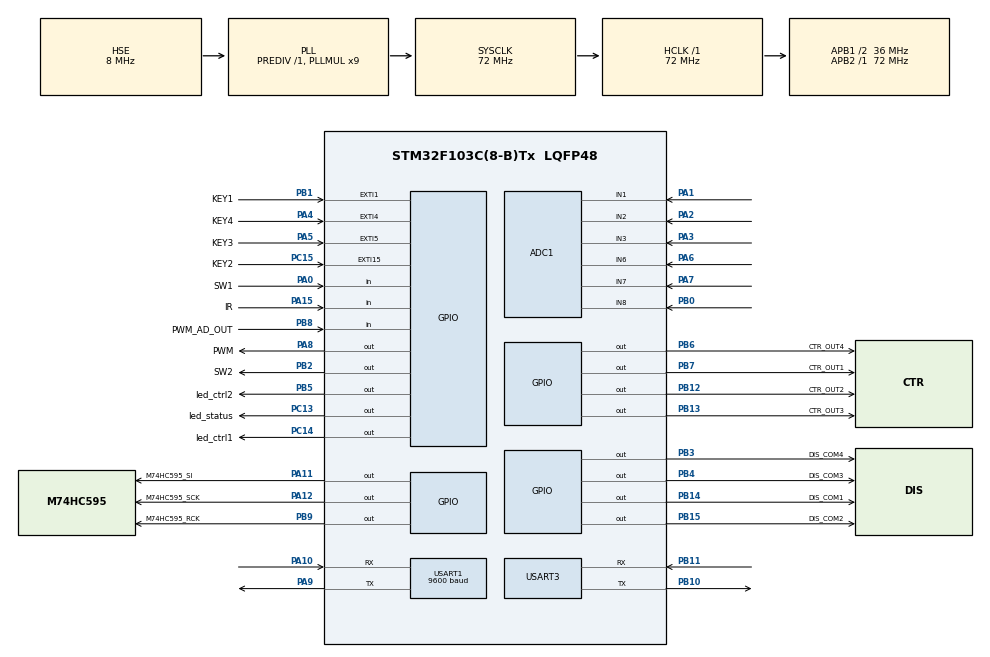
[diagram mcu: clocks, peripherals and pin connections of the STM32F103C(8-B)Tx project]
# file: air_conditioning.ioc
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ADC1.Channel-0\#ChannelRegularConversion=ADC_CHANNEL_1
ADC1.Channel-10\#ChannelRegularConversion=ADC_CHANNEL_3
ADC1.Channel-11\#ChannelRegularConversion=ADC_CHANNEL_6
ADC1.Channel-12\#ChannelRegularConversion=ADC_CHANNEL_7
ADC1.Channel-13\#ChannelRegularConversion=ADC_CHANNEL_8
ADC1.Channel-14\#ChannelRegularConversion=ADC_CHANNEL_VREFINT
ADC1.Channel-9\#ChannelRegularConversion=ADC_CHANNEL_2
ADC1.ContinuousConvMode=DISABLE
ADC1.DiscontinuousConvMode=ENABLE
ADC1.InjNumberOfConversion=0
ADC1.NbrOfConversion=7
ADC1.NbrOfConversionFlag=1
ADC1.Rank-0\#ChannelRegularConversion=1
ADC1.Rank-10\#ChannelRegularConversion=3
ADC1.Rank-11\#ChannelRegularConversion=4
ADC1.Rank-12\#ChannelRegularConversion=5
ADC1.Rank-13\#ChannelRegularConversion=6
ADC1.Rank-14\#ChannelRegularConversion=7
ADC1.Rank-9\#ChannelRegularConversion=2
ADC1.SamplingTime-0\#ChannelRegularConversion=ADC_SAMPLETIME_239CYCLES_5
ADC1.SamplingTime-10\#ChannelRegularConversion=ADC_SAMPLETIME_239CYCLES_5
ADC1.SamplingTime-11\#ChannelRegularConversion=ADC_SAMPLETIME_239CYCLES_5
ADC1.SamplingTime-12\#ChannelRegularConversion=ADC_SAMPLETIME_239CYCLES_5
ADC1.SamplingTime-13\#ChannelRegularConversion=ADC_SAMPLETIME_239CYCLES_5
ADC1.SamplingTime-14\#ChannelRegularConversion=ADC_SAMPLETIME_239CYCLES_5
ADC1.SamplingTime-9\#ChannelRegularConversion=ADC_SAMPLETIME_239CYCLES_5
ADC1.master=1
Dma.Request0=USART1_RX
Dma.USART1_RX.0.Direction=DMA_PERIPH_TO_MEMORY
Dma.USART1_RX.0.Instance=DMA1_Channel5
Dma.USART1_RX.0.MemDataAlignment=DMA_MDATAALIGN_BYTE
Dma.USART1_RX.0.MemInc=DMA_MINC_ENABLE
Dma.USART1_RX.0.Mode=DMA_NORMAL
Dma.USART1_RX.0.PeriphDataAlignment=DMA_PDATAALIGN_BYTE
Dma.USART1_RX.0.PeriphInc=DMA_PINC_DISABLE
Dma.USART1_RX.0.Priority=DMA_PRIORITY_LOW
Mcu.Family=STM32F1
Mcu.Name=STM32F103C(8-B)Tx
Mcu.Package=LQFP48
NVIC.DMA1_Channel5_IRQn=true\:0\:0\:false\:false\:true\:false\:true
NVIC.EXTI15_10_IRQn=true\:0\:0\:false\:false\:true\:true\:true
NVIC.EXTI1_IRQn=true\:0\:0\:false\:false\:true\:true\:true
NVIC.EXTI4_IRQn=true\:0\:0\:false\:false\:true\:true\:true
NVIC.EXTI9_5_IRQn=true\:0\:0\:false\:false\:true\:true\:true
NVIC.PriorityGroup=NVIC_PRIORITYGROUP_4
NVIC.TIM1_UP_IRQn=true\:0\:0\:false\:false\:true\:true\:true
NVIC.USART1_IRQn=true\:0\:0\:false\:false\:true\:true\:true
PA0-WKUP.GPIO_Label=SW1
PA0-WKUP.Signal=GPIO_Input
PA1.Signal=ADCx_IN1
PA10.Mode=Asynchronous
PA10.Signal=USART1_RX
PA11.GPIO_Label=M74HC595_SI
PA11.GPIO_PuPd=GPIO_PULLUP
PA11.Signal=GPIO_Output
PA12.GPIO_Label=M74HC595_SCK
PA12.GPIO_PuPd=GPIO_PULLUP
PA12.Signal=GPIO_Output
PA13.Mode=Serial_Wire
PA13.Signal=SYS_JTMS-SWDIO
PA14.Mode=Serial_Wire
PA14.Signal=SYS_JTCK-SWCLK
PA15.GPIO_Label=IR
PA15.Signal=GPIO_Input
PA2.Signal=ADCx_IN2
PA3.Signal=ADCx_IN3
PA4.GPIO_Label=KEY4
PA4.GPIO_ModeDefaultEXTI=GPIO_MODE_IT_FALLING
PA4.GPIO_PuPd=GPIO_PULLUP
PA4.Signal=GPXTI4
PA5.GPIO_Label=KEY3
PA5.GPIO_ModeDefaultEXTI=GPIO_MODE_IT_FALLING
PA5.GPIO_PuPd=GPIO_PULLUP
PA5.Signal=GPXTI5
PA6.Signal=ADCx_IN6
PA7.Signal=ADCx_IN7
PA8.GPIO_Label=PWM
PA8.Signal=GPIO_Output
PA9.Mode=Asynchronous
PA9.Signal=USART1_TX
PB0.Signal=ADCx_IN8
PB1.GPIO_Label=KEY1
PB1.GPIO_ModeDefaultEXTI=GPIO_MODE_IT_FALLING
PB1.GPIO_PuPd=GPIO_PULLUP
PB1.Signal=GPXTI1
PB10.Mode=Asynchronous
PB10.Signal=USART3_TX
PB11.Mode=Asynchronous
PB11.Signal=USART3_RX
PB12.GPIO_Label=CTR_OUT2
PB12.GPIO_PuPd=GPIO_PULLUP
PB12.Signal=GPIO_Output
PB13.GPIO_Label=CTR_OUT3
PB13.GPIO_PuPd=GPIO_PULLUP
PB13.Signal=GPIO_Output
PB14.GPIO_Label=DIS_COM1
PB14.GPIO_PuPd=GPIO_PULLUP
PB14.GPIO_Speed=GPIO_SPEED_FREQ_HIGH
PB14.Signal=GPIO_Output
PB15.GPIO_Label=DIS_COM2
PB15.GPIO_PuPd=GPIO_PULLUP
PB15.GPIO_Speed=GPIO_SPEED_FREQ_HIGH
PB15.Signal=GPIO_Output
PB2.GPIO_Label=SW2
PB2.Signal=GPIO_Output
PB3.GPIO_Label=DIS_COM4
PB3.GPIO_PuPd=GPIO_PULLUP
PB3.GPIO_Speed=GPIO_SPEED_FREQ_HIGH
PB3.Signal=GPIO_Output
PB4.GPIO_Label=DIS_COM3
PB4.GPIO_PuPd=GPIO_PULLUP
PB4.GPIO_Speed=GPIO_SPEED_FREQ_HIGH
PB4.Signal=GPIO_Output
PB5.GPIO_Label=led_ctrl2
PB5.GPIO_PuPd=GPIO_PULLUP
PB5.GPIO_Speed=GPIO_SPEED_FREQ_LOW
PB5.Signal=GPIO_Output
PB6.GPIO_Label=CTR_OUT4
PB6.Signal=GPIO_Output
PB7.GPIO_Label=CTR_OUT1
PB7.Signal=GPIO_Output
PB8.GPIO_Label=PWM_AD_OUT
PB8.Signal=GPIO_Input
PB9.GPIO_Label=M74HC595_RCK
PB9.GPIO_PuPd=GPIO_PULLUP
PB9.GPIO_Speed=GPIO_SPEED_FREQ_HIGH
PB9.Signal=GPIO_Output
PC13-TAMPER-RTC.GPIO_Label=led_status
PC13-TAMPER-RTC.GPIO_PuPd=GPIO_PULLUP
PC13-TAMPER-RTC.Signal=GPIO_Output
PC14-OSC32_IN.GPIO_Label=led_ctrl1
PC14-OSC32_IN.GPIO_PuPd=GPIO_PULLUP
PC14-OSC32_IN.Signal=GPIO_Output
PC15-OSC32_OUT.GPIO_Label=KEY2
PC15-OSC32_OUT.GPIO_ModeDefaultEXTI=GPIO_MODE_IT_FALLING
PC15-OSC32_OUT.GPIO_PuPd=GPIO_PULLUP
PC15-OSC32_OUT.Signal=GPXTI15
PD0-OSC_IN.Mode=HSE-External-Oscillator
PD0-OSC_IN.Signal=RCC_OSC_IN
PD1-OSC_OUT.Mode=HSE-External-Oscillator
PD1-OSC_OUT.Signal=RCC_OSC_OUT
ProjectManager.HeapSize=0x200
ProjectManager.StackSize=0x400
ProjectManager.TargetToolchain=MDK-ARM V5
RCC.ADCPresc=RCC_ADCPCLK2_DIV6
RCC.AHBFreq_Value=72000000
RCC.APB1CLKDivider=RCC_HCLK_DIV2
RCC.APB1Freq_Value=36000000
RCC.APB1TimFreq_Value=72000000
RCC.APB2Freq_Value=72000000
RCC.APB2TimFreq_Value=72000000
RCC.HCLKFreq_Value=72000000
RCC.PLLMUL=RCC_PLL_MUL9
RCC.PLLSourceVirtual=RCC_PLLSOURCE_HSE
RCC.SYSCLKFreq_VALUE=72000000
RCC.SYSCLKSource=RCC_SYSCLKSOURCE_PLLCLK
RCC.USBFreq_Value=72000000
SH.ADCx_IN1.0=ADC1_IN1,IN1
SH.ADCx_IN2.0=ADC1_IN2,IN2
SH.ADCx_IN3.0=ADC1_IN3,IN3
SH.ADCx_IN6.0=ADC1_IN6,IN6
SH.ADCx_IN7.0=ADC1_IN7,IN7
SH.ADCx_IN8.0=ADC1_IN8,IN8
TIM1.AutoReloadPreload=TIM_AUTORELOAD_PRELOAD_ENABLE
TIM1.Period=10
TIM1.Prescaler=3
USART1.BaudRate=9600
USART1.VirtualMode=VM_ASYNC
USART3.VirtualMode=VM_ASYNC
VP_ADC1_Vref_Input.Mode=IN-Vrefint
VP_TIM1_VS_ClockSourceINT.Mode=Internal
board=custom

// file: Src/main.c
/* USER CODE BEGIN Header */
/* USER CODE END Header */

#include "main.h"

/* USER CODE BEGIN Includes */
#include "led.h"
#include "stdio.h"
#include "settings.h"
#include "key.h"
#include "settings.h"
#include "machine.h"
#include "display.h"
#include "oled.h"
#include "bmp.h"
/* USER CODE END Includes */

ADC_HandleTypeDef hadc1;

TIM_HandleTypeDef htim1;

UART_HandleTypeDef huart1;
UART_HandleTypeDef huart3;
DMA_HandleTypeDef hdma_usart1_rx;

void SystemClock_Config(void);
static void MX_GPIO_Init(void);
static void MX_DMA_Init(void);
static void MX_ADC1_Init(void);
static void MX_TIM1_Init(void);
static void MX_USART1_UART_Init(void);
static void MX_USART3_UART_Init(void);

/* USER CODE BEGIN 0 */
#pragma import(__use_no_semihosting)
void _sys_exit(int x)
{
x = x;
}
struct __FILE
{
int handle;
};
FILE __stdout;

int fputc(int ch, FILE *f)
{
				//发送数据到串口
	unsigned char tmp;
	tmp =(unsigned char )ch;
 HAL_UART_Transmit(&huart3, &tmp, 1, 1);
	return ch;
}
extern unsigned char Receive_data[UART1_BUFFER_SIZE],Receive_data_temp[UART1_BUFFER_SIZE];
/* USER CODE END 0 */

int main(void)
{

  /* MCU Configuration--------------------------------------------------------*/

  /* Reset of all peripherals, Initializes the Flash interface and the Systick. */
  HAL_Init();

  /* Configure the system clock */
  SystemClock_Config();

  /* Initialize all configured peripherals */
  MX_GPIO_Init();
  MX_DMA_Init();
  MX_ADC1_Init();
  MX_TIM1_Init();
  MX_USART1_UART_Init();
  MX_USART3_UART_Init();
  /* USER CODE BEGIN 2 */
		init_params();
	  display_off();
	led_ctrl(LED_ALL,OFF);
				__HAL_UART_CLEAR_FLAG(&huart1,UART_IT_IDLE);
	__HAL_UART_DISABLE_IT(&huart1, UART_IT_IDLE);	//使能空闲中断
	HAL_UART_Receive_DMA(&huart1,Receive_data_temp,UART1_BUFFER_SIZE);
	__HAL_UART_ENABLE_IT(&huart1, UART_IT_IDLE);	//使能空闲中断
	 //TIM1->CCR2 = 9999;
	 init_Pid();
  /* USER CODE END 2 */

  /* Infinite loop */
  while (1)
  {

    /* USER CODE BEGIN 3 */
		run_process();
  }
  /* USER CODE END 3 */
}

void SystemClock_Config(void)
{
  RCC_OscInitTypeDef RCC_OscInitStruct = {0};
  RCC_ClkInitTypeDef RCC_ClkInitStruct = {0};
  RCC_PeriphCLKInitTypeDef PeriphClkInit = {0};

  /** Initializes the CPU, AHB and APB busses clocks
  */
  RCC_OscInitStruct.OscillatorType = RCC_OSCILLATORTYPE_HSE;
  RCC_OscInitStruct.HSEState = RCC_HSE_ON;
  RCC_OscInitStruct.HSEPredivValue = RCC_HSE_PREDIV_DIV1;
  RCC_OscInitStruct.HSIState = RCC_HSI_ON;
  RCC_OscInitStruct.PLL.PLLState = RCC_PLL_ON;
  RCC_OscInitStruct.PLL.PLLSource = RCC_PLLSOURCE_HSE;
  RCC_OscInitStruct.PLL.PLLMUL = RCC_PLL_MUL9;
  if (HAL_RCC_OscConfig(&RCC_OscInitStruct) != HAL_OK)
  {
    Error_Handler();
  }
  /** Initializes the CPU, AHB and APB busses clocks
  */
  RCC_ClkInitStruct.ClockType = RCC_CLOCKTYPE_HCLK|RCC_CLOCKTYPE_SYSCLK
                              |RCC_CLOCKTYPE_PCLK1|RCC_CLOCKTYPE_PCLK2;
  RCC_ClkInitStruct.SYSCLKSource = RCC_SYSCLKSOURCE_PLLCLK;
  RCC_ClkInitStruct.AHBCLKDivider = RCC_SYSCLK_DIV1;
  RCC_ClkInitStruct.APB1CLKDivider = RCC_HCLK_DIV2;
  RCC_ClkInitStruct.APB2CLKDivider = RCC_HCLK_DIV1;

  if (HAL_RCC_ClockConfig(&RCC_ClkInitStruct, FLASH_LATENCY_2) != HAL_OK)
  {
    Error_Handler();
  }
  PeriphClkInit.PeriphClockSelection = RCC_PERIPHCLK_ADC;
  PeriphClkInit.AdcClockSelection = RCC_ADCPCLK2_DIV6;
  if (HAL_RCCEx_PeriphCLKConfig(&PeriphClkInit) != HAL_OK)
  {
    Error_Handler();
  }
}

static void MX_ADC1_Init(void)
{

  ADC_ChannelConfTypeDef sConfig = {0};

  /** Common config
  */
  hadc1.Instance = ADC1;
  hadc1.Init.ScanConvMode = ADC_SCAN_ENABLE;
  hadc1.Init.ContinuousConvMode = DISABLE;
  hadc1.Init.DiscontinuousConvMode = ENABLE;
  hadc1.Init.NbrOfDiscConversion = 1;
  hadc1.Init.ExternalTrigConv = ADC_SOFTWARE_START;
  hadc1.Init.DataAlign = ADC_DATAALIGN_RIGHT;
  hadc1.Init.NbrOfConversion = 7;
  if (HAL_ADC_Init(&hadc1) != HAL_OK)
  {
    Error_Handler();
  }
  /** Configure Regular Channel
  */
  sConfig.Channel = ADC_CHANNEL_1;
  sConfig.Rank = ADC_REGULAR_RANK_1;
  sConfig.SamplingTime = ADC_SAMPLETIME_239CYCLES_5;
  if (HAL_ADC_ConfigChannel(&hadc1, &sConfig) != HAL_OK)
  {
    Error_Handler();
  }
  /** Configure Regular Channel
  */
  sConfig.Channel = ADC_CHANNEL_2;
  sConfig.Rank = ADC_REGULAR_RANK_2;
  if (HAL_ADC_ConfigChannel(&hadc1, &sConfig) != HAL_OK)
  {
    Error_Handler();
  }
  /** Configure Regular Channel
  */
  sConfig.Channel = ADC_CHANNEL_3;
  sConfig.Rank = ADC_REGULAR_RANK_3;
  if (HAL_ADC_ConfigChannel(&hadc1, &sConfig) != HAL_OK)
  {
    Error_Handler();
  }
  /** Configure Regular Channel
  */
  sConfig.Channel = ADC_CHANNEL_6;
  sConfig.Rank = ADC_REGULAR_RANK_4;
  if (HAL_ADC_ConfigChannel(&hadc1, &sConfig) != HAL_OK)
  {
    Error_Handler();
  }
  /** Configure Regular Channel
  */
  sConfig.Channel = ADC_CHANNEL_7;
  sConfig.Rank = ADC_REGULAR_RANK_5;
  if (HAL_ADC_ConfigChannel(&hadc1, &sConfig) != HAL_OK)
  {
    Error_Handler();
  }
  /** Configure Regular Channel
  */
  sConfig.Channel = ADC_CHANNEL_8;
  sConfig.Rank = ADC_REGULAR_RANK_6;
  if (HAL_ADC_ConfigChannel(&hadc1, &sConfig) != HAL_OK)
  {
    Error_Handler();
  }
  /** Configure Regular Channel
  */
  sConfig.Channel = ADC_CHANNEL_VREFINT;
  sConfig.Rank = ADC_REGULAR_RANK_7;
  if (HAL_ADC_ConfigChannel(&hadc1, &sConfig) != HAL_OK)
  {
    Error_Handler();
  }

}

static void MX_TIM1_Init(void)
{

  TIM_ClockConfigTypeDef sClockSourceConfig = {0};
  TIM_MasterConfigTypeDef sMasterConfig = {0};

  htim1.Instance = TIM1;
  htim1.Init.Prescaler = 3;
  htim1.Init.CounterMode = TIM_COUNTERMODE_UP;
  htim1.Init.Period = 10;
  htim1.Init.ClockDivision = TIM_CLOCKDIVISION_DIV1;
  htim1.Init.RepetitionCounter = 0;
  htim1.Init.AutoReloadPreload = TIM_AUTORELOAD_PRELOAD_ENABLE;
  if (HAL_TIM_Base_Init(&htim1) != HAL_OK)
  {
    Error_Handler();
  }
  sClockSourceConfig.ClockSource = TIM_CLOCKSOURCE_INTERNAL;
  if (HAL_TIM_ConfigClockSource(&htim1, &sClockSourceConfig) != HAL_OK)
  {
    Error_Handler();
  }
  sMasterConfig.MasterOutputTrigger = TIM_TRGO_RESET;
  sMasterConfig.MasterSlaveMode = TIM_MASTERSLAVEMODE_DISABLE;
  if (HAL_TIMEx_MasterConfigSynchronization(&htim1, &sMasterConfig) != HAL_OK)
  {
    Error_Handler();
  }

}

static void MX_USART1_UART_Init(void)
{

  huart1.Instance = USART1;
  huart1.Init.BaudRate = 9600;
  huart1.Init.WordLength = UART_WORDLENGTH_8B;
  huart1.Init.StopBits = UART_STOPBITS_1;
  huart1.Init.Parity = UART_PARITY_NONE;
  huart1.Init.Mode = UART_MODE_TX_RX;
  huart1.Init.HwFlowCtl = UART_HWCONTROL_NONE;
  huart1.Init.OverSampling = UART_OVERSAMPLING_16;
  if (HAL_UART_Init(&huart1) != HAL_OK)
  {
    Error_Handler();
  }

}

static void MX_USART3_UART_Init(void)
{

  huart3.Instance = USART3;
  huart3.Init.BaudRate = 115200;
  huart3.Init.WordLength = UART_WORDLENGTH_8B;
  huart3.Init.StopBits = UART_STOPBITS_1;
  huart3.Init.Parity = UART_PARITY_NONE;
  huart3.Init.Mode = UART_MODE_TX_RX;
  huart3.Init.HwFlowCtl = UART_HWCONTROL_NONE;
  huart3.Init.OverSampling = UART_OVERSAMPLING_16;
  if (HAL_UART_Init(&huart3) != HAL_OK)
  {
    Error_Handler();
  }

}

static void MX_DMA_Init(void)
{

  /* DMA controller clock enable */
  __HAL_RCC_DMA1_CLK_ENABLE();

  /* DMA interrupt init */
  /* DMA1_Channel5_IRQn interrupt configuration */
  HAL_NVIC_SetPriority(DMA1_Channel5_IRQn, 0, 0);
  HAL_NVIC_EnableIRQ(DMA1_Channel5_IRQn);

}

static void MX_GPIO_Init(void)
{
  GPIO_InitTypeDef GPIO_InitStruct = {0};

  /* GPIO Ports Clock Enable */
  __HAL_RCC_GPIOC_CLK_ENABLE();
  __HAL_RCC_GPIOD_CLK_ENABLE();
  __HAL_RCC_GPIOA_CLK_ENABLE();
  __HAL_RCC_GPIOB_CLK_ENABLE();

  /*Configure GPIO pin Output Level */
  HAL_GPIO_WritePin(GPIOC, led_status_Pin|led_ctrl1_Pin, GPIO_PIN_RESET);

  /*Configure GPIO pin Output Level */
  HAL_GPIO_WritePin(GPIOB, SW2_Pin|CTR_OUT2_Pin|CTR_OUT3_Pin|DIS_COM1_Pin
                          |DIS_COM2_Pin|DIS_COM4_Pin|DIS_COM3_Pin|led_ctrl2_Pin
                          |CTR_OUT4_Pin|CTR_OUT1_Pin|M74HC595_RCK_Pin, GPIO_PIN_RESET);

  /*Configure GPIO pin Output Level */
  HAL_GPIO_WritePin(GPIOA, PWM_Pin|M74HC595_SI_Pin|M74HC595_SCK_Pin, GPIO_PIN_RESET);

  /*Configure GPIO pins : led_status_Pin led_ctrl1_Pin */
  GPIO_InitStruct.Pin = led_status_Pin|led_ctrl1_Pin;
  GPIO_InitStruct.Mode = GPIO_MODE_OUTPUT_PP;
  GPIO_InitStruct.Pull = GPIO_PULLUP;
  GPIO_InitStruct.Speed = GPIO_SPEED_FREQ_LOW;
  HAL_GPIO_Init(GPIOC, &GPIO_InitStruct);

  /*Configure GPIO pin : KEY2_Pin */
  GPIO_InitStruct.Pin = KEY2_Pin;
  GPIO_InitStruct.Mode = GPIO_MODE_IT_FALLING;
  GPIO_InitStruct.Pull = GPIO_PULLUP;
  HAL_GPIO_Init(KEY2_GPIO_Port, &GPIO_InitStruct);

  /*Configure GPIO pins : SW1_Pin IR_Pin */
  GPIO_InitStruct.Pin = SW1_Pin|IR_Pin;
  GPIO_InitStruct.Mode = GPIO_MODE_INPUT;
  GPIO_InitStruct.Pull = GPIO_NOPULL;
  HAL_GPIO_Init(GPIOA, &GPIO_InitStruct);

  /*Configure GPIO pins : KEY4_Pin KEY3_Pin */
  GPIO_InitStruct.Pin = KEY4_Pin|KEY3_Pin;
  GPIO_InitStruct.Mode = GPIO_MODE_IT_FALLING;
  GPIO_InitStruct.Pull = GPIO_PULLUP;
  HAL_GPIO_Init(GPIOA, &GPIO_InitStruct);

  /*Configure GPIO pin : KEY1_Pin */
  GPIO_InitStruct.Pin = KEY1_Pin;
  GPIO_InitStruct.Mode = GPIO_MODE_IT_FALLING;
  GPIO_InitStruct.Pull = GPIO_PULLUP;
  HAL_GPIO_Init(KEY1_GPIO_Port, &GPIO_InitStruct);

  /*Configure GPIO pins : SW2_Pin CTR_OUT4_Pin CTR_OUT1_Pin */
  GPIO_InitStruct.Pin = SW2_Pin|CTR_OUT4_Pin|CTR_OUT1_Pin;
  GPIO_InitStruct.Mode = GPIO_MODE_OUTPUT_PP;
  GPIO_InitStruct.Pull = GPIO_NOPULL;
  GPIO_InitStruct.Speed = GPIO_SPEED_FREQ_LOW;
  HAL_GPIO_Init(GPIOB, &GPIO_InitStruct);

  /*Configure GPIO pins : CTR_OUT2_Pin CTR_OUT3_Pin led_ctrl2_Pin */
  GPIO_InitStruct.Pin = CTR_OUT2_Pin|CTR_OUT3_Pin|led_ctrl2_Pin;
  GPIO_InitStruct.Mode = GPIO_MODE_OUTPUT_PP;
  GPIO_InitStruct.Pull = GPIO_PULLUP;
  GPIO_InitStruct.Speed = GPIO_SPEED_FREQ_LOW;
  HAL_GPIO_Init(GPIOB, &GPIO_InitStruct);

  /*Configure GPIO pins : DIS_COM1_Pin DIS_COM2_Pin DIS_COM4_Pin DIS_COM3_Pin
                           M74HC595_RCK_Pin */
  GPIO_InitStruct.Pin = DIS_COM1_Pin|DIS_COM2_Pin|DIS_COM4_Pin|DIS_COM3_Pin
                          |M74HC595_RCK_Pin;
  GPIO_InitStruct.Mode = GPIO_MODE_OUTPUT_PP;
  GPIO_InitStruct.Pull = GPIO_PULLUP;
  GPIO_InitStruct.Speed = GPIO_SPEED_FREQ_HIGH;
  HAL_GPIO_Init(GPIOB, &GPIO_InitStruct);

  /*Configure GPIO pin : PWM_Pin */
  GPIO_InitStruct.Pin = PWM_Pin;
  GPIO_InitStruct.Mode = GPIO_MODE_OUTPUT_PP;
  GPIO_InitStruct.Pull = GPIO_NOPULL;
  GPIO_InitStruct.Speed = GPIO_SPEED_FREQ_LOW;
  HAL_GPIO_Init(PWM_GPIO_Port, &GPIO_InitStruct);

  /*Configure GPIO pins : M74HC595_SI_Pin M74HC595_SCK_Pin */
  GPIO_InitStruct.Pin = M74HC595_SI_Pin|M74HC595_SCK_Pin;
  GPIO_InitStruct.Mode = GPIO_MODE_OUTPUT_PP;
  GPIO_InitStruct.Pull = GPIO_PULLUP;
  GPIO_InitStruct.Speed = GPIO_SPEED_FREQ_LOW;
  HAL_GPIO_Init(GPIOA, &GPIO_InitStruct);

  /*Configure GPIO pin : PWM_AD_OUT_Pin */
  GPIO_InitStruct.Pin = PWM_AD_OUT_Pin;
  GPIO_InitStruct.Mode = GPIO_MODE_INPUT;
  GPIO_InitStruct.Pull = GPIO_NOPULL;
  HAL_GPIO_Init(PWM_AD_OUT_GPIO_Port, &GPIO_InitStruct);

  /* EXTI interrupt init*/
  HAL_NVIC_SetPriority(EXTI1_IRQn, 0, 0);
  HAL_NVIC_EnableIRQ(EXTI1_IRQn);

  HAL_NVIC_SetPriority(EXTI4_IRQn, 0, 0);
  HAL_NVIC_EnableIRQ(EXTI4_IRQn);

  HAL_NVIC_SetPriority(EXTI9_5_IRQn, 0, 0);
  HAL_NVIC_EnableIRQ(EXTI9_5_IRQn);

  HAL_NVIC_SetPriority(EXTI15_10_IRQn, 0, 0);
  HAL_NVIC_EnableIRQ(EXTI15_10_IRQn);

}

/* USER CODE BEGIN 4 */
extern key_stru key;

void HAL_GPIO_EXTI_Callback(uint16_t GPIO_Pin)
{
	unsigned int i;
	i=50000;
	while(i--)
	 ;
	if(GPIO_Pin==KEY1_Pin)
	{

		if(HAL_GPIO_ReadPin(KEY1_GPIO_Port, KEY1_Pin)==GPIO_PIN_RESET)
		{
		    key.keytime= HAL_GetTick();
			key.keynum = key.keynum|0x01;

		}
	}
	else if(GPIO_Pin==KEY4_Pin)
	{
		if(HAL_GPIO_ReadPin(KEY4_GPIO_Port, KEY4_Pin)==0)
		{
			key.keytime = HAL_GetTick();
			key.keynum = key.keynum|0x40;
		}

	}
	else if(GPIO_Pin==KEY3_Pin)
	{
		if(HAL_GPIO_ReadPin(KEY3_GPIO_Port, KEY3_Pin)==0)
		{
			key.keytime = HAL_GetTick();
			key.keynum = key.keynum|0x10;
		}
	}
	else if(GPIO_Pin==KEY2_Pin)
	{
		if(HAL_GPIO_ReadPin(KEY2_GPIO_Port, KEY2_Pin)==0)
		{
			key.keytime = HAL_GetTick();
			key.keynum = key.keynum|0x04;
		}
	}
	else
		;
}
/* USER CODE END 4 */

void Error_Handler(void)
{
}

/************************ (C) COPYRIGHT STMicroelectronics *****END OF FILE****/
